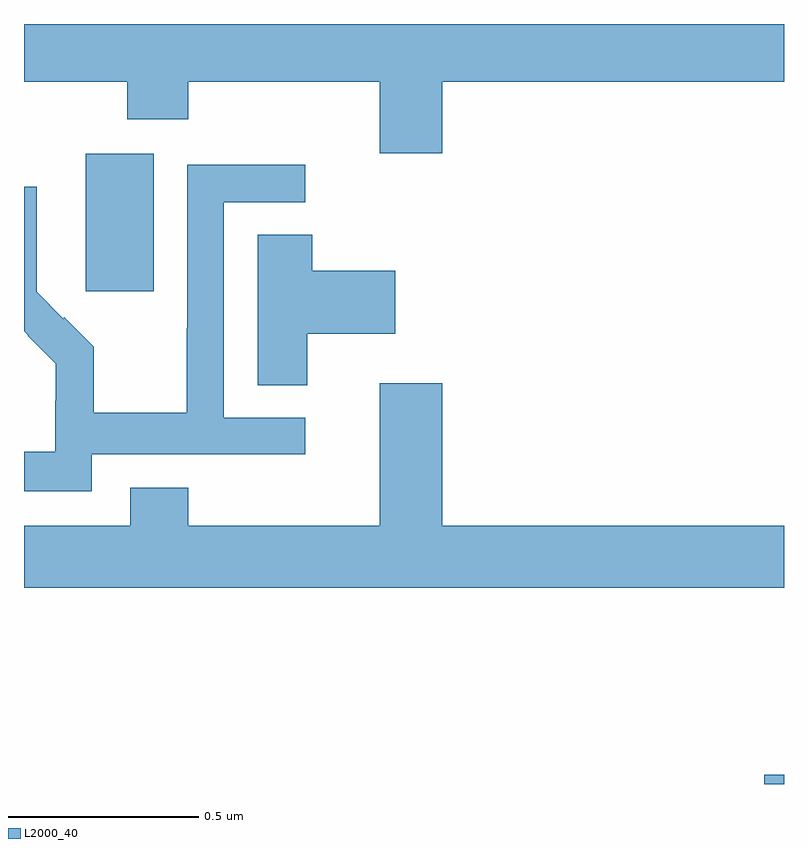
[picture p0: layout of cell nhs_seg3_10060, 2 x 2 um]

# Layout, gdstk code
import gdstk
lib = gdstk.Library(unit=1e-6, precision=1e-09)
def R(c, l, rs):  # rectangles x0, y0, x1, y1
    for r in rs: c.add(gdstk.rectangle(r[:2], r[2:], *l))
def P(c, l, *ps):  # polygons
    for p in ps: c.add(gdstk.Polygon(p, *l))
L2000_40 = (2000, 40)

nhs_seg3_10060 = lib.new_cell('nhs_seg3_10060')
R(nhs_seg3_10060, L2000_40, [(237.948,700.4,238,700.424), (236.162,701.697,236.341,702.058)])
P(nhs_seg3_10060, L2000_40, [(237.1,702.248),(238,702.248),(238,702.4),(236,702.4),(236,702.248),(236.272,702.248),(236.272,702.149),(236.432,702.149),(236.432,702.248),(236.936,702.248),(236.936,702.06),(237.1,702.06)],
  [(236.178,701.268),(236.74,701.268),(236.74,701.364),(236.526,701.364),(236.526,701.931),(236.74,701.931),(236.74,702.03),(236.43,702.03),(236.43,701.6),(236.428,701.6),(236.428,701.377),(236.183,701.377),(236.183,701.551),(236.106,701.628),(236.103,701.625),(236.033,701.696),(236.033,701.818),(236.034,701.818),(236.034,701.972),(236,701.972),(236,701.592),(236.011,701.581),(236.01,701.58),(236.084,701.506),(236.084,701.409),(236.082,701.409),(236.082,701.275),(236,701.275),(236,701.171),(236.178,701.171)],
  [(236.746,701.585),(236.977,701.585),(236.977,701.751),(236.759,701.751),(236.759,701.846),(236.615,701.846),(236.615,701.449),(236.746,701.449)],
  [(238,701.08),(237.1,701.08),(237.1,701.455),(236.936,701.455),(236.936,701.08),(236.432,701.08),(236.432,701.179),(236.279,701.179),(236.279,701.08),(236,701.08),(236,700.916),(238,700.916)])

lib.write_gds('nhs_seg3_10060.gds')
